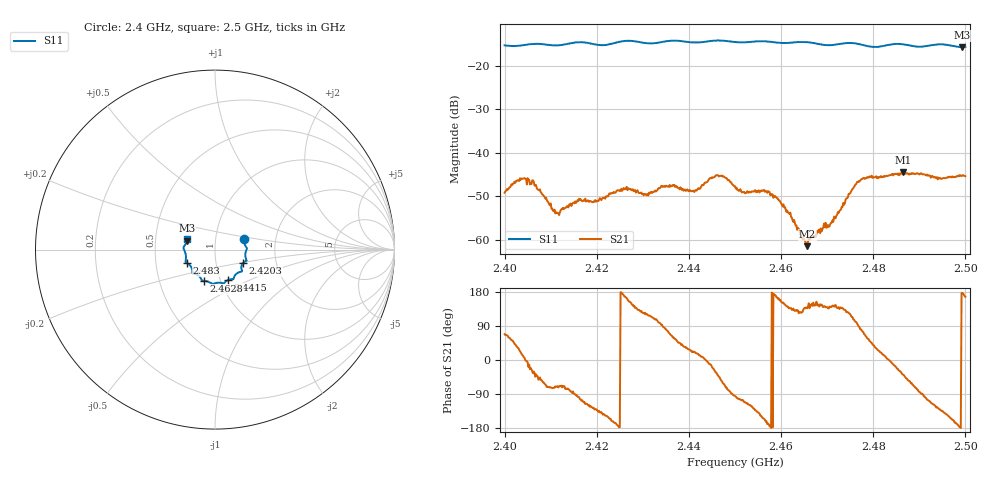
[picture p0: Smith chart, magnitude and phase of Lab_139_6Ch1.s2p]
# Hz S RI R 50
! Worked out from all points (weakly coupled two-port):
!   601 points, 2.4 GHz to 2.5 GHz, reference 50 ohm
!   highest |S21| = -44.54 dB at 2.4865 GHz (marker M1); lowest = -61.5 dB at 2.4657 GHz (marker M2)
!   lowest |S11| = -15.7 dB at 2.4993 GHz (marker M3), VSWR 1.39, Z = 36.4 + j3.68 ohm
!   |S11| at or under -10 dB: start of sweep to end of sweep
!   S12 and S22 are empty: the file has one direction only
!   S11 on the Smith chart (normalised r, x): 2.4 GHz: 1.38, +0.16; 2.4203 GHz: 1.35, -0.21; 2.4415 GHz: 1.09, -0.38; 2.4628 GHz: 0.83, -0.30; 2.483 GHz: 0.73, -0.11; 2.5 GHz: 0.73, +0.09
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2.4e9  0.1619 0.0566  0.00129 0.00322  0 0  0 0
2.404833e9  0.1737 0.0142  0.00431 -0.000216  0 0  0 0
2.4115e9  0.1688 -0.0261  0.000726 -0.00191  0 0  0 0
2.416667e9  0.1754 -0.062  -0.000834 -0.0027  0 0  0 0
2.420333e9  0.1562 -0.0747  -0.00201 -0.00192  0 0  0 0
2.426333e9  0.151 -0.12  -0.00374 0.00101  0 0  0 0
2.430667e9  0.1272 -0.1296  -0.00169 0.00288  0 0  0 0
2.433333e9  0.1085 -0.1479  -0.000656 0.00384  0 0  0 0
2.4415e9  0.0732 -0.1691  0.00355 0.00116  0 0  0 0
2.446333e9  0.0481 -0.1888  0.00416 -0.00361  0 0  0 0
2.45e9  0.0299 -0.1846  -0.000367 -0.0041  0 0  0 0
2.457667e9  -0.0216 -0.1869  -0.00323 -0.000395  0 0  0 0
2.462833e9  -0.0625 -0.1741  -0.0011 0.00127  0 0  0 0
2.465667e9  -0.0732 -0.1713  -0.000614 0.000579  0 0  0 0
2.466667e9  -0.0753 -0.1673  -0.000918 0.000567  0 0  0 0
2.470833e9  -0.0999 -0.1401  -0.00119 0.00102  0 0  0 0
2.477e9  -0.1254 -0.1243  0.000242 0.00465  0 0  0 0
2.483e9  -0.1542 -0.0764  0.0054 0.00034  0 0  0 0
2.483333e9  -0.1564 -0.0751  0.00547 8.32e-05  0 0  0 0
2.4865e9  -0.164 -0.0638  0.00461 -0.00373  0 0  0 0
2.499333e9  -0.1557 0.0493  -0.00548 0.000321  0 0  0 0
2.5e9  -0.1536 0.0578  -0.00523 0.00124  0 0  0 0
